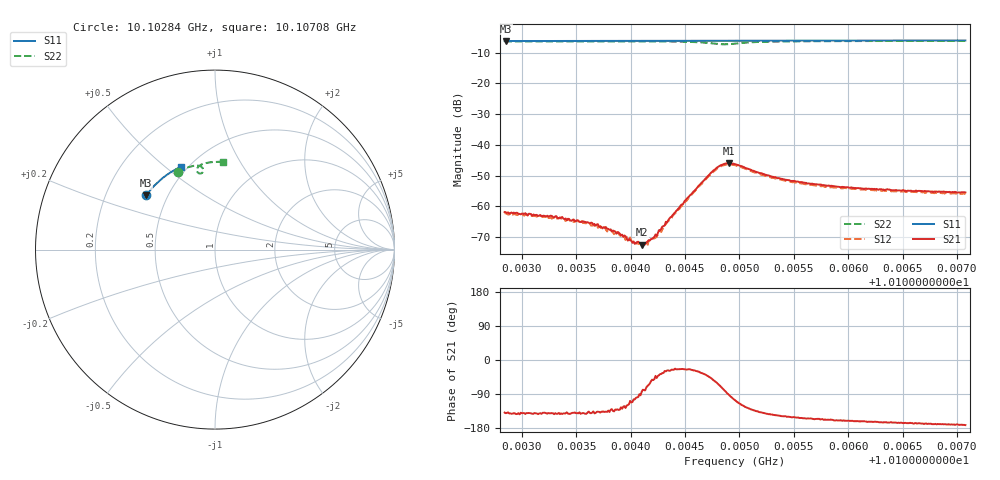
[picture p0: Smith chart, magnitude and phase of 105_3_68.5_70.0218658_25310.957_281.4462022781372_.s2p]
#  HZ  S  RI  R  50.00
! Rohde & Schwarz Vector Network Analyzer
! Rohde-Schwarz,ZNB20-2Port,1311601062101988,3.16
! Created: UTC 3/20/2024, 4:53:14 PM
! freq[Hz]  re:S11  im:S11  re:S21  im:S21  re:S12  im:S12  re:S22  im:S22
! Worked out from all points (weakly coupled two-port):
!   401 points, 10.10284 GHz to 10.10708 GHz, reference 50 ohm
!   highest |S21| = -46.04 dB at 10.10491 GHz (marker M1); lowest = -72.6 dB at 10.1041 GHz (marker M2)
!   lowest |S11| = -6.2 dB at 10.10285 GHz (marker M3), VSWR 2.91, Z = 19 + j15.1 ohm
!   |S11| at or under -10 dB: nowhere
!   |S22| runs from -7.3 to -6.2 dB; largest |S21 - S12| = 0.00052
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1.0102842e10  -0.3834 0.3019  -0.000605 -0.000532  -0.000553 -0.000526  -0.2073 0.4333
1.0102853e10  -0.383 0.3023  -0.000616 -0.000509  -0.000539 -0.000549  -0.2068 0.4336
1.0103255e10  -0.3682 0.3219  -0.000532 -0.000434  -0.000484 -0.000424  -0.1826 0.4453
1.010335e10  -0.3647 0.3264  -0.000514 -0.000391  -0.00049 -0.000443  -0.1768 0.448
1.0103552e10  -0.3567 0.3357  -0.000433 -0.000352  -0.000419 -0.00039  -0.164 0.4532
1.0103774e10  -0.3478 0.3461  -0.00033 -0.000317  -0.000255 -0.000328  -0.1493 0.4586
1.0103901e10  -0.3426 0.3517  -0.000235 -0.00027  -0.000177 -0.000285  -0.1404 0.4614
1.0104028e10  -0.3372 0.3574  -6.43e-05 -0.000259  -7.78e-05 -0.000251  -0.1313 0.4639
1.0104102e10  -0.334 0.3605  2.48e-05 -0.000234  2.88e-05 -0.000238  -0.1257 0.4654
1.0104134e10  -0.3327 0.3618  4.11e-05 -0.000237  5.01e-05 -0.000235  -0.1232 0.4658
1.0104197e10  -0.3298 0.3646  0.000181 -0.000231  0.000175 -0.000228  -0.1181 0.4668
1.0104219e10  -0.3292 0.3654  0.000201 -0.000243  0.000203 -0.00022  -0.1163 0.4671
1.0104261e10  -0.3272 0.3672  0.000311 -0.000264  0.000328 -0.000205  -0.1127 0.4675
1.0104409e10  -0.3207 0.3734  0.000732 -0.000308  0.000724 -0.000251  -0.0989 0.4683
1.0104727e10  -0.3063 0.3863  0.00231 -0.00235  0.00241 -0.00207  -0.0655 0.4468
1.0104822e10  -0.3017 0.3899  0.00171 -0.00424  0.002 -0.00391  -0.0711 0.4283
1.0104907e10  -0.298 0.3929  -0.000262 -0.00498  0.000185 -0.00479  -0.0893 0.425
1.010496e10  -0.2956 0.3952  -0.00135 -0.00464  -0.000906 -0.00457  -0.0979 0.4319
1.0105299e10  -0.2796 0.408  -0.00245 -0.00179  -0.00219 -0.00191  -0.0825 0.4702
1.0105669e10  -0.2613 0.421  -0.00212 -0.000981  -0.00192 -0.00112  -0.0533 0.4814
1.0106379e10  -0.2246 0.4436  -0.00181 -0.000474  -0.00166 -0.000609  -0.00364 0.4882
1.0107077e10  -0.1867 0.4624  -0.00166 -0.000238  -0.00155 -0.000411  0.0427 0.4886
